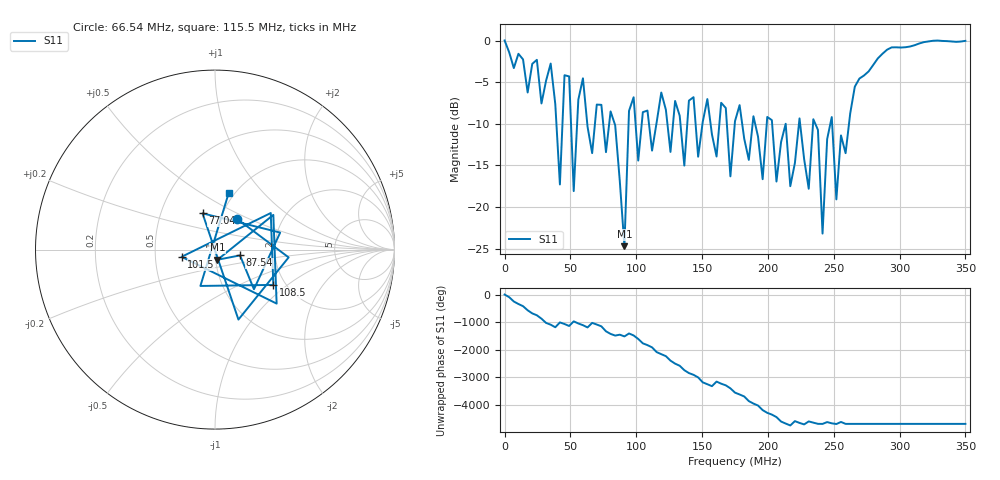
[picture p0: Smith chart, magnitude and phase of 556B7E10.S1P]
!File created by NanoVNA
# Hz S RI R 50
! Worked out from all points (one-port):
!   101 points, 50 kHz to 350 MHz, reference 50 ohm
!   lowest |S11| = -24.7 dB at 91.04 MHz (marker M1), VSWR 1.12, Z = 51.1 - j5.8 ohm
!   |S11| at or under -10 dB: 83.66 MHz to 94.2 MHz (10.54 MHz wide, 11.9 % of centre); 236 MHz to 247.4 MHz (11.42 MHz wide, 4.72 % of centre); 248.8 MHz to 261.6 MHz (12.8 MHz wide, 5.02 % of centre) (the widest 3 of 19)
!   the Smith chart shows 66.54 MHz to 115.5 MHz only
!   S11 on the Smith chart (normalised r, x): 66.54 MHz: 1.20, +0.43; 77.04 MHz: 0.81, +0.34; 87.54 MHz: 1.32, -0.09; 101.5 MHz: 0.68, -0.06; 108.5 MHz: 1.73, -0.80; 115.5 MHz: 0.94, +0.66
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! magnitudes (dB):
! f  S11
! 50 kHz  0.0
! 35.05 MHz  -2.8
! 42.04 MHz  -17.3
! 45.54 MHz  -4.2
! 49.04 MHz  -4.3
! 52.54 MHz  -18.1
! 59.54 MHz  -4.5
! 66.54 MHz  -13.5
! 77.04 MHz  -13.4
! 87.54 MHz  -16.9
! 91.04 MHz  -24.7
! 94.54 MHz  -8.4
! 101.5 MHz  -14.4
! 108.5 MHz  -8.4
! 115.5 MHz  -9.8
! 133 MHz  -9.0
! 136.5 MHz  -15.0
! 168 MHz  -8.1
! 171.5 MHz  -16.3
! 175 MHz  -9.7
! 220.5 MHz  -14.7
! 238 MHz  -10.7
! 241.5 MHz  -23.2
! 248.5 MHz  -9.2
! 252 MHz  -19.1
! 262.5 MHz  -8.8
! 308 MHz  -0.7
! 350 MHz  0.0
